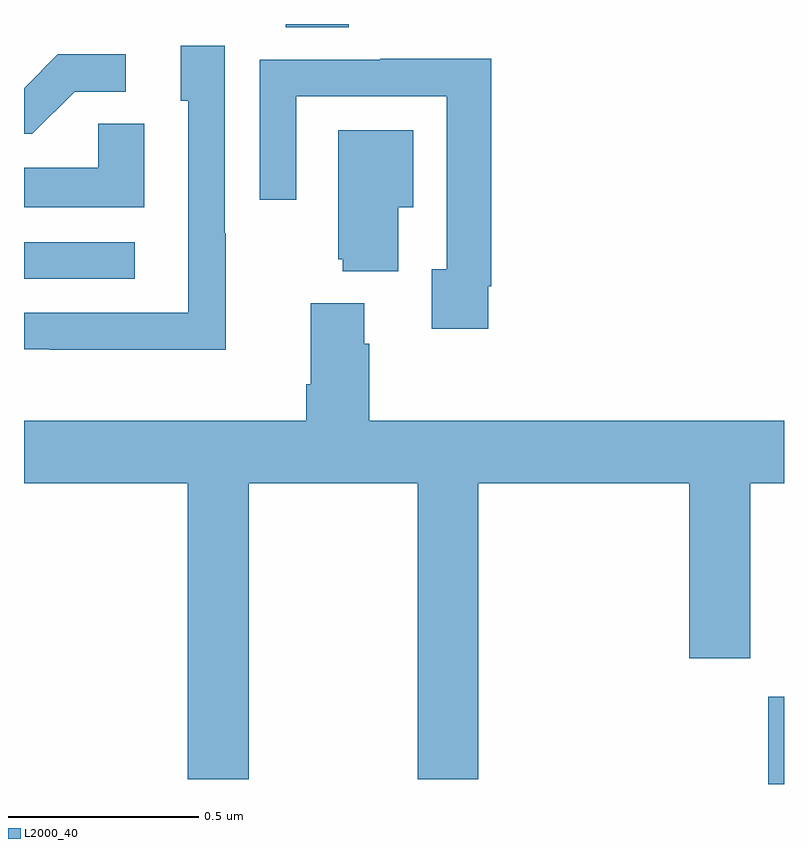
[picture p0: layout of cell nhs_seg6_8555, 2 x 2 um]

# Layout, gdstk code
import gdstk
lib = gdstk.Library(unit=1e-6, precision=1e-09)
def R(c, l, rs):  # rectangles x0, y0, x1, y1
    for r in rs: c.add(gdstk.rectangle(r[:2], r[2:], *l))
def P(c, l, *ps):  # polygons
    for p in ps: c.add(gdstk.Polygon(p, *l))
L2000_40 = (2000, 40)

nhs_seg6_8555 = lib.new_cell('nhs_seg6_8555')
R(nhs_seg6_8555, L2000_40, [(223.958,990.5,224,990.73), (222,991.83,222.292,991.926), (222.689,992.491,222.854,992.5)])
P(nhs_seg6_8555, L2000_40, [(222.531,991.949),(222.528,991.949),(222.528,992.443),(222.413,992.443),(222.413,992.298),(222.432,992.298),(222.432,991.74),(222,991.74),(222,991.644),(222.067,991.644),(222.067,991.643),(222.531,991.643)],
  [(222.133,992.322),(222.268,992.322),(222.268,992.42),(222.089,992.42),(222,992.331),(222,992.211),(222.022,992.211)],
  [(223.222,991.81),(223.229,991.81),(223.229,992.408),(222.937,992.408),(222.937,992.406),(222.621,992.406),(222.621,992.037),(222.717,992.037),(222.717,992.31),(223.113,992.31),(223.113,991.854),(223.073,991.854),(223.073,991.698),(223.222,991.698)],
  [(222.316,992.237),(222.195,992.237),(222.195,992.122),(222,992.122),(222,992.018),(222.316,992.018)],
  [(222.985,992.018),(223.024,992.018),(223.024,992.221),(222.827,992.221),(222.827,991.881),(222.839,991.881),(222.839,991.85),(222.985,991.85)],
  [(222.591,991.292),(223.036,991.292),(223.036,990.513),(223.196,990.513),(223.196,991.292),(223.751,991.292),(223.751,990.831),(223.911,990.831),(223.911,991.292),(224,991.292),(224,991.456),(222.908,991.456),(222.908,991.658),(222.895,991.658),(222.895,991.765),(222.755,991.765),(222.755,991.552),(222.743,991.552),(222.743,991.456),(222,991.456),(222,991.292),(222.431,991.292),(222.431,990.513),(222.591,990.513)])

lib.write_gds('nhs_seg6_8555.gds')
